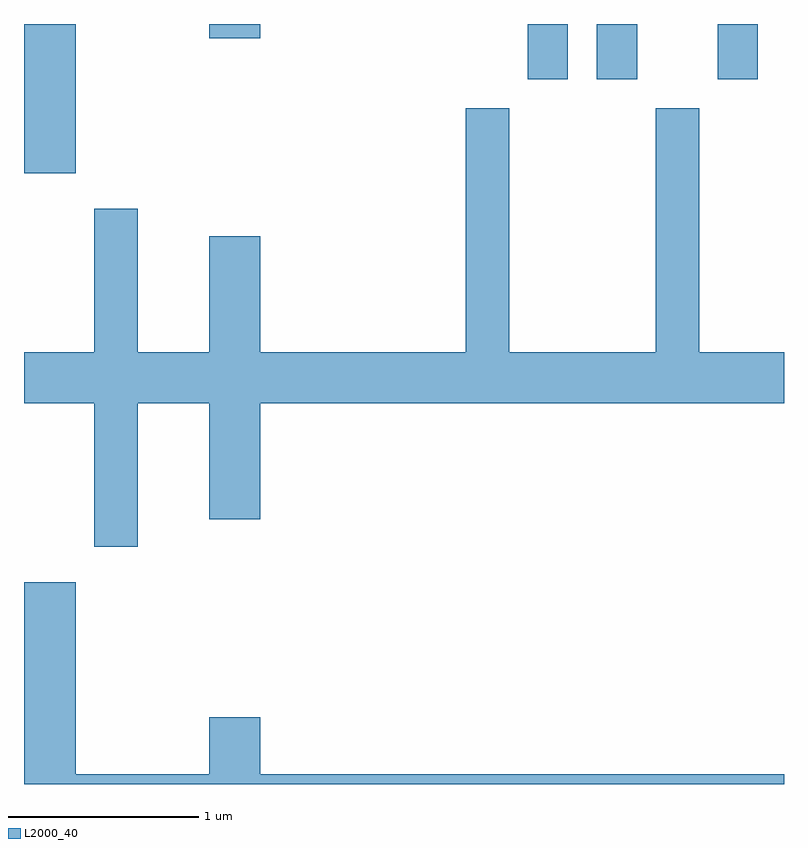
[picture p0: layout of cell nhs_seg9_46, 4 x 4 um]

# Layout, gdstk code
import gdstk
lib = gdstk.Library(unit=1e-6, precision=1e-09)
def R(c, l, rs):  # rectangles x0, y0, x1, y1
    for r in rs: c.add(gdstk.rectangle(r[:2], r[2:], *l))
def P(c, l, *ps):  # polygons
    for p in ps: c.add(gdstk.Polygon(p, *l))
L2000_40 = (2000, 40)

nhs_seg9_46 = lib.new_cell('nhs_seg9_46')
R(nhs_seg9_46, L2000_40, [(185.611,2039.646,185.884,2040.432), (188.261,2040.141,188.474,2040.432), (188.626,2040.141,188.839,2040.432), (189.261,2040.141,189.474,2040.432), (186.586,2040.356,186.854,2040.432)])
P(nhs_seg9_46, L2000_40, [(186.209,2038.436),(186.586,2038.436),(186.586,2037.826),(186.854,2037.826),(186.854,2038.436),(189.611,2038.436),(189.611,2038.704),(189.164,2038.704),(189.164,2039.989),(188.936,2039.989),(188.936,2038.704),(188.164,2038.704),(188.164,2039.989),(187.936,2039.989),(187.936,2038.704),(186.854,2038.704),(186.854,2039.314),(186.586,2039.314),(186.586,2038.704),(186.209,2038.704),(186.209,2039.459),(185.981,2039.459),(185.981,2038.704),(185.611,2038.704),(185.611,2038.436),(185.981,2038.436),(185.981,2037.681),(186.209,2037.681)],
  [(189.611,2036.484),(186.854,2036.484),(186.854,2036.784),(186.586,2036.784),(186.586,2036.484),(185.884,2036.484),(185.884,2037.494),(185.611,2037.494),(185.611,2036.432),(189.611,2036.432)])

lib.write_gds('nhs_seg9_46.gds')
